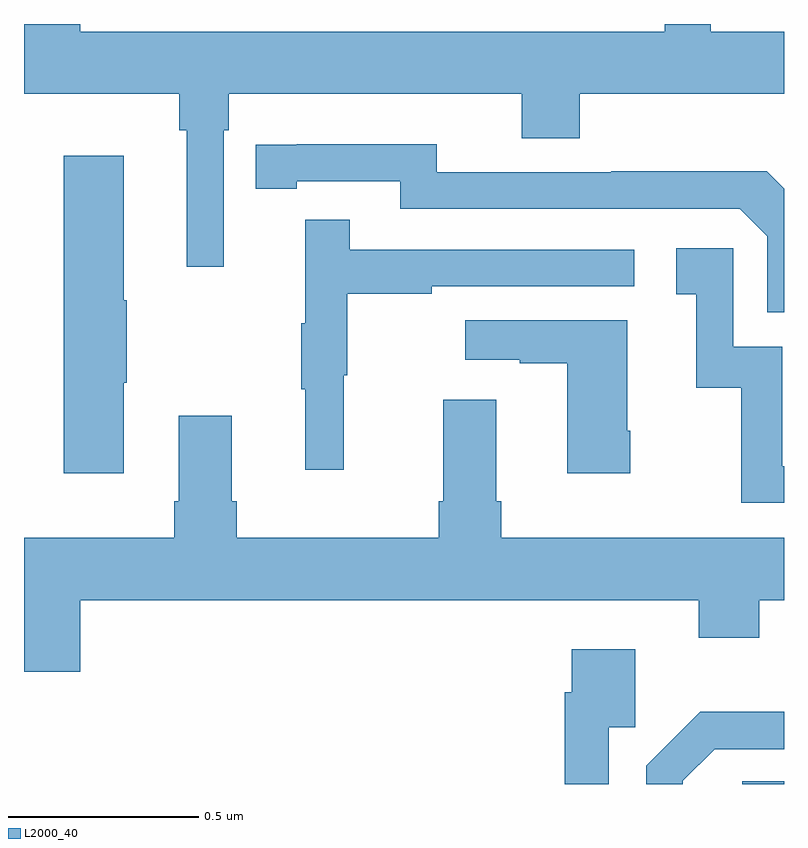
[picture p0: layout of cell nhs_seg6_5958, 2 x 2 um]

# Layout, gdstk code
import gdstk
lib = gdstk.Library(unit=1e-6, precision=1e-09)
def R(c, l, rs):  # rectangles x0, y0, x1, y1
    for r in rs: c.add(gdstk.rectangle(r[:2], r[2:], *l))
def P(c, l, *ps):  # polygons
    for p in ps: c.add(gdstk.Polygon(p, *l))
L2000_40 = (2000, 40)

nhs_seg6_5958 = lib.new_cell('nhs_seg6_5958')
R(nhs_seg6_5958, L2000_40, [(190.89,965.5,191,965.507)])
P(nhs_seg6_5958, L2000_40, [(189.525,967.22),(189.539,967.22),(189.539,967.316),(190.31,967.316),(190.31,967.199),(190.463,967.199),(190.463,967.316),(191,967.316),(191,967.48),(190.807,967.48),(190.807,967.5),(190.686,967.5),(190.686,967.48),(189.148,967.48),(189.148,967.5),(189,967.5),(189,967.316),(189.409,967.316),(189.409,967.22),(189.428,967.22),(189.428,966.861),(189.525,966.861)],
  [(191,967.066),(190.954,967.112),(190.546,967.112),(190.546,967.11),(190.086,967.11),(190.086,967.183),(189.718,967.183),(189.718,967.182),(189.61,967.182),(189.61,967.066),(189.718,967.066),(189.718,967.086),(189.99,967.086),(189.99,967.014),(190.884,967.014),(190.956,966.942),(190.956,966.741),(191,966.741)],
  [(189.262,966.556),(189.27,966.556),(189.27,966.773),(189.262,966.773),(189.262,967.153),(189.104,967.153),(189.104,966.318),(189.262,966.318)],
  [(189.842,966.576),(189.85,966.576),(189.85,966.79),(190.073,966.79),(190.073,966.81),(190.606,966.81),(190.606,966.906),(189.857,966.906),(189.857,966.985),(189.74,966.985),(189.74,966.713),(189.729,966.713),(189.729,966.539),(189.74,966.539),(189.74,966.327),(189.842,966.327)],
  [(191,966.336),(190.995,966.336),(190.995,966.651),(190.866,966.651),(190.866,966.91),(190.716,966.91),(190.716,966.789),(190.769,966.789),(190.769,966.543),(190.887,966.543),(190.887,966.24),(191,966.24)],
  [(190.596,966.43),(190.588,966.43),(190.588,966.721),(190.161,966.721),(190.161,966.617),(190.304,966.617),(190.304,966.607),(190.43,966.607),(190.43,966.318),(190.596,966.318)],
  [(189.148,965.984),(190.775,965.984),(190.775,965.885),(190.935,965.885),(190.935,965.984),(191,965.984),(191,966.148),(190.256,966.148),(190.256,966.244),(190.243,966.244),(190.243,966.511),(190.103,966.511),(190.103,966.244),(190.091,966.244),(190.091,966.148),(189.56,966.148),(189.56,966.244),(189.547,966.244),(189.547,966.469),(189.407,966.469),(189.407,966.244),(189.395,966.244),(189.395,966.148),(189,966.148),(189,965.796),(189.148,965.796)],
  [(190.539,965.649),(190.608,965.649),(190.608,965.854),(190.442,965.854),(190.442,965.741),(190.423,965.741),(190.423,965.5),(190.539,965.5)],
  [(190.734,965.508),(190.818,965.592),(191,965.592),(191,965.69),(190.779,965.69),(190.638,965.548),(190.638,965.5),(190.734,965.5)])

lib.write_gds('nhs_seg6_5958.gds')
